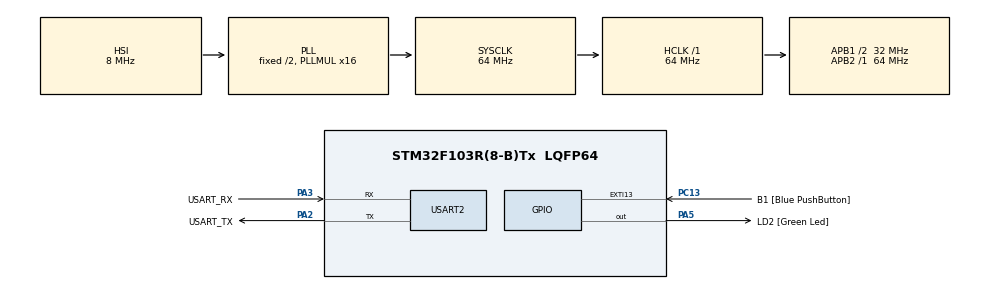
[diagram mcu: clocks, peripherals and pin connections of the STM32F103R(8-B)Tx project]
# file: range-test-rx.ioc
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Mcu.Family=STM32F1
Mcu.Name=STM32F103R(8-B)Tx
Mcu.Package=LQFP64
NVIC.EXTI15_10_IRQn=true\:0\:0\:false\:false\:true\:true\:true\:true
NVIC.PriorityGroup=NVIC_PRIORITYGROUP_4
NVIC.USART2_IRQn=true\:1\:0\:false\:false\:true\:true\:true\:true
PA13.GPIO_Label=TMS
PA13.Mode=Serial_Wire
PA13.Signal=SYS_JTMS-SWDIO
PA14.GPIO_Label=TCK
PA14.Mode=Serial_Wire
PA14.Signal=SYS_JTCK-SWCLK
PA2.GPIO_Label=USART_TX
PA2.GPIO_Mode=GPIO_MODE_AF_PP
PA2.GPIO_PuPd=GPIO_NOPULL
PA2.GPIO_Speed=GPIO_SPEED_FREQ_LOW
PA2.Mode=Asynchronous
PA2.Signal=USART2_TX
PA3.GPIO_Label=USART_RX
PA3.GPIO_Mode=GPIO_MODE_INPUT
PA3.GPIO_PuPd=GPIO_NOPULL
PA3.GPIO_Speed=GPIO_SPEED_FREQ_LOW
PA3.Mode=Asynchronous
PA3.Signal=USART2_RX
PA5.GPIO_Label=LD2 [Green Led]
PA5.GPIO_ModeDefaultOutputPP=GPIO_MODE_OUTPUT_PP
PA5.GPIO_PuPd=GPIO_NOPULL
PA5.GPIO_Speed=GPIO_SPEED_FREQ_LOW
PA5.Signal=GPIO_Output
PB3.GPIO_Label=SWO
PB3.Signal=SYS_JTDO-TRACESWO
PC13-TAMPER-RTC.GPIO_Label=B1 [Blue PushButton]
PC13-TAMPER-RTC.GPIO_PuPd=GPIO_NOPULL
PC13-TAMPER-RTC.Signal=GPXTI13
PC14-OSC32_IN.Mode=LSE-External-Oscillator
PC14-OSC32_IN.Signal=RCC_OSC32_IN
PC15-OSC32_OUT.Mode=LSE-External-Oscillator
PC15-OSC32_OUT.Signal=RCC_OSC32_OUT
PD0-OSC_IN.Mode=HSE-External-Clock-Source
PD0-OSC_IN.Signal=RCC_OSC_IN
PD1-OSC_OUT.Mode=HSE-External-Clock-Source
PD1-OSC_OUT.Signal=RCC_OSC_OUT
ProjectManager.HeapSize=0x200
ProjectManager.StackSize=0x400
ProjectManager.TargetToolchain=EWARM V8.32
RCC.AHBFreq_Value=64000000
RCC.APB1CLKDivider=RCC_HCLK_DIV2
RCC.APB1Freq_Value=32000000
RCC.APB1TimFreq_Value=64000000
RCC.APB2Freq_Value=64000000
RCC.APB2TimFreq_Value=64000000
RCC.HCLKFreq_Value=64000000
RCC.PLLMUL=RCC_PLL_MUL16
RCC.RTCClockSelection=RCC_RTCCLKSOURCE_LSE
RCC.SYSCLKFreq_VALUE=64000000
RCC.SYSCLKSource=RCC_SYSCLKSOURCE_PLLCLK
RCC.USBFreq_Value=64000000
USART2.VirtualMode=VM_ASYNC
board=NUCLEO-F103RB

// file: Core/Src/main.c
/* USER CODE BEGIN Header */
/**
  ******************************************************************************
  * @file           : main.c
  * @brief          : Main program body
  ******************************************************************************
  * @attention
  *
  * Copyright (c) 2026 STMicroelectronics.
  * All rights reserved.
  *
  * This software is licensed under terms that can be found in the LICENSE file
  * in the root directory of this software component.
  * If no LICENSE file comes with this software, it is provided AS-IS.
  *
  ******************************************************************************
  */
/* USER CODE END Header */
#include "main.h"

/* USER CODE BEGIN Includes */
#include <stdbool.h>
#include <string.h>
#include <stdio.h>
/* USER CODE END Includes */

/* USER CODE BEGIN PD */
#define RN2483_BAUDRATE      57600U
#define RN2483_RESP_TIMEOUT  1000U   /* ms, for the immediate command response */
#define RN2483_RX_WDT_MS     4000U   /* lets a late SF12 packet finish */
#define RN2483_RX_RESULT_TIMEOUT_MS (RN2483_RX_WDT_MS + 1000U)
#define RN2483_RX_COMMAND    "radio rx 50" /* ~1.64 s at SF12/BW125 */
#define RN2483_TX_TIMEOUT_MS 10000U
#define RN2483_FLUSH_TIMEOUT_MS 250U
#define RN2483_MAX_SYNC_FAILURES 2U
#define SERIAL_COMMAND_SIZE  16U
#define SERIAL_QUEUE_DEPTH   2U
#define SILENCE_LOG_MS       15000U
#define CONTROL_COMMAND_REPEATS 3U
#define ONE_SHOT_COMMAND_REPEATS 1U
#define PING_REPLY_TIMEOUT_MS 12000U
/* USER CODE END PD */

UART_HandleTypeDef huart2;

/* USER CODE BEGIN PV */
UART_HandleTypeDef huart1; /* RN2483 LoRa module, PA9/PA10 = D8/D2 */
static uint32_t rx_count = 0;
static uint8_t serial_rx_byte;
static volatile char serial_input[SERIAL_COMMAND_SIZE];
static volatile uint8_t serial_input_length;
static volatile bool serial_command_discarding;
static volatile bool serial_command_overflow;
static volatile bool serial_rx_fault;
static volatile char serial_queue[SERIAL_QUEUE_DEPTH][SERIAL_COMMAND_SIZE];
static volatile uint8_t serial_queue_length[SERIAL_QUEUE_DEPTH];
static volatile uint8_t serial_queue_head;
static volatile uint8_t serial_queue_tail;
static volatile uint8_t serial_queue_count;
static bool ping_waiting;
static uint32_t ping_started_ms;
static uint32_t last_silence_log_ms;
/* USER CODE END PV */

void SystemClock_Config(void);
static void MX_GPIO_Init(void);
static void MX_USART2_UART_Init(void);
/* USER CODE BEGIN PFP */
static void Debug_Log(const char *msg);
static void RN2483_UART_Init(void);
static void RN2483_Flush(void);
static HAL_StatusTypeDef RN2483_ReadLine(char *buf, uint16_t size, uint32_t timeout);
static HAL_StatusTypeDef RN2483_Command(const char *cmd, char *resp, uint16_t size, uint32_t timeout);
static bool RN2483_CommandChecked(const char *cmd, const char *expected);
static void RN2483_Initialize(void);
static HAL_StatusTypeDef RN2483_TransmitText(const char *text, char *detail, uint16_t detail_size);
static void Serial_Command_Init(void);
static bool Serial_TakeCommand(char *command, uint16_t command_size);
static int Hex_Nibble(char c);
static bool Text_IsUnsignedNonzero(const char *text);
static bool Text_IsSignedDecimal(const char *text);
/* USER CODE END PFP */

/* USER CODE BEGIN 0 */
/**
  * @brief Print a line on the debug console (ST-LINK VCP, CR/LF appended).
  */
static void Debug_Log(const char *msg)
{
  HAL_UART_Transmit(&huart2, (uint8_t *)msg, (uint16_t)strlen(msg), 100);
  HAL_UART_Transmit(&huart2, (uint8_t *)"\r\n", 2, 100);
}

/**
  * @brief USART1 init (PA9 = TX = D8, PA10 = RX = D2, wired to the RN2483).
  *        Wiring: module RX -> D8 (PA9), module TX -> D2 (PA10).
  */
static void RN2483_UART_Init(void)
{
  GPIO_InitTypeDef GPIO_InitStruct = {0};

  __HAL_RCC_GPIOA_CLK_ENABLE();
  __HAL_RCC_USART1_CLK_ENABLE();

  GPIO_InitStruct.Pin = GPIO_PIN_9;
  GPIO_InitStruct.Mode = GPIO_MODE_AF_PP;
  GPIO_InitStruct.Speed = GPIO_SPEED_FREQ_HIGH;
  HAL_GPIO_Init(GPIOA, &GPIO_InitStruct);

  GPIO_InitStruct.Pin = GPIO_PIN_10;
  GPIO_InitStruct.Mode = GPIO_MODE_AF_INPUT;
  GPIO_InitStruct.Pull = GPIO_NOPULL;
  HAL_GPIO_Init(GPIOA, &GPIO_InitStruct);

  huart1.Instance = USART1;
  huart1.Init.BaudRate = RN2483_BAUDRATE;
  huart1.Init.WordLength = UART_WORDLENGTH_8B;
  huart1.Init.StopBits = UART_STOPBITS_1;
  huart1.Init.Parity = UART_PARITY_NONE;
  huart1.Init.Mode = UART_MODE_TX_RX;
  huart1.Init.HwFlowCtl = UART_HWCONTROL_NONE;
  huart1.Init.OverSampling = UART_OVERSAMPLING_16;
  if (HAL_UART_Init(&huart1) != HAL_OK)
  {
    Error_Handler();
  }
}

/**
  * @brief Discard any pending bytes from the module (e.g. the power-up banner).
  */
static void RN2483_Flush(void)
{
  uint8_t c;
  const uint32_t started_ms = HAL_GetTick();
  while ((HAL_GetTick() - started_ms) < RN2483_FLUSH_TIMEOUT_MS &&
         HAL_UART_Receive(&huart1, &c, 1, 10U) == HAL_OK)
  {
  }
}

/**
  * @brief Read one CR/LF-terminated line from the module into buf.
  *        The terminator is stripped and buf is always NUL-terminated.
  */
static HAL_StatusTypeDef RN2483_ReadLine(char *buf,
                                         uint16_t size,
                                         uint32_t timeout)
{
  if (buf == NULL || size < 2U)
  {
    return HAL_ERROR;
  }

  uint32_t start = HAL_GetTick();
  uint16_t len = 0;

  while ((HAL_GetTick() - start) < timeout)
  {
    uint8_t c;
    if (HAL_UART_Receive(&huart1, &c, 1, 10) != HAL_OK)
    {
      continue;
    }
    if (c == '\r')
    {
      continue;
    }
    if (c == '\n')
    {
      if (len == 0)
      {
        continue; /* ignore stray blank lines */
      }
      buf[len] = '\0';
      return HAL_OK;
    }
    if (len < (size - 1U))
    {
      buf[len++] = (char)c;
    }
  }
  buf[len] = '\0';
  return HAL_TIMEOUT;
}

/**
  * @brief Send a command (CR/LF appended) and read the immediate response line.
  */
static HAL_StatusTypeDef RN2483_Command(const char *cmd, char *resp, uint16_t size, uint32_t timeout)
{
  char wire_command[96];
  if (cmd == NULL || resp == NULL || size < 2U)
  {
    return HAL_ERROR;
  }
  resp[0] = '\0';

  const size_t command_length = strlen(cmd);
  if (command_length == 0U || command_length + 2U > sizeof(wire_command))
  {
    return HAL_ERROR;
  }
  memcpy(wire_command, cmd, command_length);
  wire_command[command_length] = '\r';
  wire_command[command_length + 1U] = '\n';

  if (HAL_UART_Transmit(&huart1,
                        (uint8_t *)wire_command,
                        (uint16_t)(command_length + 2U),
                        100U) != HAL_OK)
  {
    return HAL_ERROR;
  }
  return RN2483_ReadLine(resp, size, timeout);
}

/**
  * @brief Send one initialization command and validate its exact response.
  */
static bool RN2483_CommandChecked(const char *cmd, const char *expected)
{
  char resp[32];
  if (RN2483_Command(cmd, resp, sizeof(resp), RN2483_RESP_TIMEOUT) == HAL_OK &&
      strcmp(resp, expected) == 0)
  {
    return true;
  }

  char out[128];
  snprintf(out, sizeof(out),
           "BRIDGE RADIO CONFIG FAILED cmd=\"%.48s\" response=\"%.31s\"",
           cmd,
           resp[0] == '\0' ? "timeout/write_error" : resp);
  Debug_Log(out);
  return false;
}

static bool Text_IsUnsignedNonzero(const char *text)
{
  if (text == NULL || text[0] == '\0')
  {
    return false;
  }

  bool nonzero = false;
  for (size_t index = 0U; text[index] != '\0'; index++)
  {
    if (text[index] < '0' || text[index] > '9')
    {
      return false;
    }
    nonzero = nonzero || text[index] != '0';
  }
  return nonzero;
}

static bool Text_IsSignedDecimal(const char *text)
{
  if (text == NULL || text[0] == '\0')
  {
    return false;
  }

  size_t index = text[0] == '-' ? 1U : 0U;
  if (text[index] == '\0')
  {
    return false;
  }
  for (; text[index] != '\0'; index++)
  {
    if (text[index] < '0' || text[index] > '9')
    {
      return false;
    }
  }
  return true;
}

/**
  * @brief Reset and configure the separately-powered RN2483.
  *        This routine retries instead of leaving the bridge permanently in
  *        Error_Handler after a transient or stale module response.
  */
static void RN2483_Initialize(void)
{
  static const struct
  {
    const char *command;
    const char *expected;
  } fixed_commands[] = {
    {"radio set mod lora", "ok"},
    {"radio set freq 433575000", "ok"},
    {"radio set sf sf12", "ok"},
    {"radio set bw 125", "ok"},
    {"radio set cr 4/5", "ok"},
    {"radio set crc on", "ok"},
    {"radio set iqi off", "ok"},
    {"radio set prlen 8", "ok"},
    {"radio set sync 34", "ok"},
    {"radio set pwr 14", "ok"},
    {"radio get mod", "lora"},
    {"radio get freq", "433575000"},
    {"radio get sf", "sf12"},
    {"radio get bw", "125"},
    {"radio get cr", "4/5"},
    {"radio get crc", "on"},
    {"radio get iqi", "off"},
    {"radio get prlen", "8"},
    {"radio get sync", "34"},
    {"radio get pwr", "14"},
  };
  char response[64];
  char watchdog_command[32];
  char watchdog_expected[16];
  char out[128];
  uint32_t attempt = 0U;

  snprintf(watchdog_command,
           sizeof(watchdog_command),
           "radio set wdt %lu",
           (unsigned long)RN2483_RX_WDT_MS);
  snprintf(watchdog_expected,
           sizeof(watchdog_expected),
           "%lu",
           (unsigned long)RN2483_RX_WDT_MS);

  for (;;)
  {
    attempt++;
    RN2483_Flush();
    const HAL_StatusTypeDef reset_status =
        RN2483_Command("sys reset",
                       response,
                       sizeof(response),
                       RN2483_RX_RESULT_TIMEOUT_MS);
    if (reset_status != HAL_OK || strncmp(response, "RN2483 ", 7U) != 0)
    {
      snprintf(out, sizeof(out),
               "BRIDGE RADIO INIT RETRY %lu reset_response=\"%.63s\"",
               (unsigned long)attempt,
               response[0] == '\0' ? "timeout/write_error" : response);
      Debug_Log(out);
      HAL_Delay(1000U);
      continue;
    }

    snprintf(out, sizeof(out), "module reset: %.75s", response);
    Debug_Log(out);
    if (RN2483_Command("mac pause",
                       response,
                       sizeof(response),
                       RN2483_RESP_TIMEOUT) != HAL_OK ||
        !Text_IsUnsignedNonzero(response))
    {
      snprintf(out, sizeof(out),
               "BRIDGE RADIO INIT RETRY %lu mac_pause=\"%.63s\"",
               (unsigned long)attempt,
               response[0] == '\0' ? "timeout/write_error" : response);
      Debug_Log(out);
      HAL_Delay(1000U);
      continue;
    }

    bool configured = true;
    for (size_t index = 0U;
         index < sizeof(fixed_commands) / sizeof(fixed_commands[0]);
         index++)
    {
      if (!RN2483_CommandChecked(fixed_commands[index].command,
                                 fixed_commands[index].expected))
      {
        configured = false;
        break;
      }
    }
    if (configured &&
        !RN2483_CommandChecked(watchdog_command, "ok"))
    {
      configured = false;
    }
    if (configured &&
        !RN2483_CommandChecked("radio get wdt", watchdog_expected))
    {
      configured = false;
    }

    if (configured)
    {
      Debug_Log("radio configured: 433.575 MHz, SF12/BW125/CR4/5, sync 34");
      return;
    }

    snprintf(out, sizeof(out),
             "BRIDGE RADIO INIT RETRY %lu configuration rejected",
             (unsigned long)attempt);
    Debug_Log(out);
    HAL_Delay(1000U);
  }
}

/**
  * @brief Send an ASCII payload with the RN2483 raw-LoRa radio command.
  *        The immediate "ok" and final "radio_tx_ok" are both required.
  */
static HAL_StatusTypeDef RN2483_TransmitText(const char *text,
                                             char *detail,
                                             uint16_t detail_size)
{
  static const char hex_digits[] = "0123456789ABCDEF";
  char command[80] = "radio tx ";
  if (text == NULL || detail == NULL || detail_size == 0U)
  {
    return HAL_ERROR;
  }

  const size_t prefix_length = strlen(command);
  const size_t text_length = strlen(text);

  detail[0] = '\0';

  if (text_length == 0U ||
      prefix_length + (text_length * 2U) >= sizeof(command))
  {
    snprintf(detail, detail_size, "payload_too_long");
    return HAL_ERROR;
  }

  for (size_t i = 0; i < text_length; i++)
  {
    const uint8_t byte = (uint8_t)text[i];
    command[prefix_length + (i * 2U)] = hex_digits[byte >> 4];
    command[prefix_length + (i * 2U) + 1U] = hex_digits[byte & 0x0FU];
  }
  command[prefix_length + (text_length * 2U)] = '\0';

  const HAL_StatusTypeDef command_status =
      RN2483_Command(command,
                     detail,
                     detail_size,
                     RN2483_RESP_TIMEOUT);
  if (command_status != HAL_OK)
  {
    snprintf(detail,
             detail_size,
             command_status == HAL_TIMEOUT
                 ? "immediate_timeout"
                 : "command_write_error");
    return command_status;
  }
  if (strcmp(detail, "ok") != 0)
  {
    return HAL_ERROR;
  }

  if (RN2483_ReadLine(detail, detail_size,
                      RN2483_TX_TIMEOUT_MS) != HAL_OK)
  {
    snprintf(detail, detail_size, "transmit_timeout");
    return HAL_TIMEOUT;
  }
  return strcmp(detail, "radio_tx_ok") == 0 ? HAL_OK : HAL_ERROR;
}

/**
  * @brief Arm interrupt-driven reception on the ST-Link VCP (USART2).
  */
static void Serial_Command_Init(void)
{
  serial_input_length = 0U;
  serial_command_discarding = false;
  serial_command_overflow = false;
  serial_rx_fault = false;
  serial_queue_head = 0U;
  serial_queue_tail = 0U;
  serial_queue_count = 0U;

  HAL_NVIC_SetPriority(USART2_IRQn, 1U, 0U);
  HAL_NVIC_EnableIRQ(USART2_IRQn);
  if (HAL_UART_Receive_IT(&huart2, &serial_rx_byte, 1U) != HAL_OK)
  {
    Error_Handler();
  }
}

/**
  * @brief Copy one complete serial line out of the interrupt-owned buffer.
  */
static bool Serial_TakeCommand(char *command, uint16_t command_size)
{
  if (command == NULL || command_size == 0U || serial_queue_count == 0U)
  {
    return false;
  }

  __disable_irq();
  const uint8_t slot = serial_queue_tail;
  uint8_t length = serial_queue_length[slot];
  if (length >= command_size)
  {
    length = (uint8_t)(command_size - 1U);
  }
  for (uint8_t index = 0U; index < length; index++)
  {
    command[index] = serial_queue[slot][index];
  }
  command[length] = '\0';
  serial_queue_tail = (uint8_t)((serial_queue_tail + 1U) % SERIAL_QUEUE_DEPTH);
  serial_queue_count--;
  __enable_irq();
  return true;
}

/**
  * @brief Assemble CR/LF-terminated WebSerial commands without blocking the
  *        RN2483 receive wait in the main loop.
  */
void HAL_UART_RxCpltCallback(UART_HandleTypeDef *huart)
{
  if (huart != &huart2)
  {
    return;
  }

  const uint8_t byte = serial_rx_byte;
  if (byte == '\n')
  {
    if (serial_command_discarding)
    {
      serial_command_discarding = false;
      serial_command_overflow = true;
      serial_input_length = 0U;
    }
    else if (serial_input_length > 0U)
    {
      if (serial_queue_count < SERIAL_QUEUE_DEPTH)
      {
        const uint8_t slot = serial_queue_head;
        for (uint8_t index = 0U; index < serial_input_length; index++)
        {
          serial_queue[slot][index] = serial_input[index];
        }
        serial_queue[slot][serial_input_length] = '\0';
        serial_queue_length[slot] = serial_input_length;
        serial_queue_head =
            (uint8_t)((serial_queue_head + 1U) % SERIAL_QUEUE_DEPTH);
        serial_queue_count++;
      }
      else
      {
        serial_command_overflow = true;
      }
      serial_input_length = 0U;
    }
  }
  else if (byte >= 0x20U && byte <= 0x7EU && !serial_command_discarding)
  {
    if (serial_input_length < (SERIAL_COMMAND_SIZE - 1U))
    {
      serial_input[serial_input_length++] = (char)byte;
    }
    else
    {
      serial_command_discarding = true;
      serial_input_length = 0U;
    }
  }

  if (HAL_UART_Receive_IT(&huart2, &serial_rx_byte, 1U) != HAL_OK)
  {
    serial_rx_fault = true;
  }
}

/**
  * @brief Recover VCP reception after an overrun/noise/framing error.
  */
void HAL_UART_ErrorCallback(UART_HandleTypeDef *huart)
{
  if (huart == &huart2)
  {
    serial_rx_fault = true;
  }
}

/**
  * @brief Hex digit -> value, or -1 if not a hex digit.
  */
static int Hex_Nibble(char c)
{
  if (c >= '0' && c <= '9') return c - '0';
  if (c >= 'A' && c <= 'F') return c - 'A' + 10;
  if (c >= 'a' && c <= 'f') return c - 'a' + 10;
  return -1;
}
/* USER CODE END 0 */

int main(void)
{

  /* MCU Configuration--------------------------------------------------------*/

  /* Reset of all peripherals, Initializes the Flash interface and the Systick. */
  HAL_Init();

  /* Configure the system clock */
  SystemClock_Config();

  /* Initialize all configured peripherals */
  MX_GPIO_Init();
  MX_USART2_UART_Init();
  /* USER CODE BEGIN 2 */
  Serial_Command_Init();
  Debug_Log("range-test RX: booting");

  RN2483_UART_Init();
  RN2483_Initialize();
  Debug_Log("bridge serial ready: PUMP_TOGGLE, PUMP_RUN_6_5, LED_ON/OFF, or PING");
  /* USER CODE END 2 */

  /* Infinite loop */
  /* USER CODE BEGIN WHILE */
  while (1)
  {
    char resp[32];
    char line[160];
    char out[160];
    char serial_line[SERIAL_COMMAND_SIZE];
    static uint8_t radio_sync_failures = 0U;

    __disable_irq();
    const bool command_was_dropped = serial_command_overflow;
    serial_command_overflow = false;
    const bool serial_receive_failed = serial_rx_fault;
    serial_rx_fault = false;
    __enable_irq();

    if (command_was_dropped)
    {
      Debug_Log("BRIDGE SERIAL ERROR input dropped");
    }

    if (serial_receive_failed)
    {
      (void)HAL_UART_AbortReceive(&huart2);
      if (HAL_UART_Receive_IT(&huart2, &serial_rx_byte, 1U) == HAL_OK)
      {
        Debug_Log("BRIDGE SERIAL RX recovered");
      }
      else
      {
        __disable_irq();
        serial_rx_fault = true;
        __enable_irq();
        Debug_Log("BRIDGE SERIAL RX recovery failed");
        HAL_Delay(100U);
      }
    }

    if (ping_waiting &&
        (HAL_GetTick() - ping_started_ms) >= PING_REPLY_TIMEOUT_MS)
    {
      const uint32_t elapsed_ms = HAL_GetTick() - ping_started_ms;
      ping_waiting = false;
      snprintf(out, sizeof(out), "BRIDGE PING TIMEOUT elapsed_ms=%lu",
               (unsigned long)elapsed_ms);
      Debug_Log(out);
    }

    /* A complete VCP line is handled between bounded receive windows, when
       the module is known to be idle and can safely switch from RX to TX. */
    if (Serial_TakeCommand(serial_line, sizeof(serial_line)))
    {
      const bool is_pump_toggle = strcmp(serial_line, "PUMP_TOGGLE") == 0;
      const bool is_pump_run = strcmp(serial_line, "PUMP_RUN_6_5") == 0;
      if (is_pump_toggle ||
          is_pump_run ||
          strcmp(serial_line, "LED_ON") == 0 ||
          strcmp(serial_line, "LED_OFF") == 0 ||
          strcmp(serial_line, "PING") == 0)
      {
        char detail[32];
        HAL_StatusTypeDef transmit_status = HAL_OK;
        uint8_t transmissions = 0U;
        const bool is_ping = strcmp(serial_line, "PING") == 0;
        const bool is_one_shot = is_ping || is_pump_toggle || is_pump_run;
        const uint8_t required_transmissions =
            is_one_shot ? ONE_SHOT_COMMAND_REPEATS
                        : CONTROL_COMMAND_REPEATS;

        if (is_ping && ping_waiting)
        {
          Debug_Log("BRIDGE PING BUSY");
          continue;
        }

        snprintf(out, sizeof(out), "BRIDGE SERIAL RX len=%u \"%s\"",
                 (unsigned int)strlen(serial_line), serial_line);
        Debug_Log(out);

        if (is_ping)
        {
          ping_started_ms = HAL_GetTick();
        }

        /* LED commands are idempotent and repeated for link margin. Toggle,
           fixed-duration pump run, and PING commands are sent exactly once. */
        for (uint8_t attempt = 0U;
             attempt < required_transmissions;
             attempt++)
        {
          transmit_status = RN2483_TransmitText(serial_line,
                                                detail,
                                                sizeof(detail));
          if (transmit_status != HAL_OK)
          {
            break;
          }
          transmissions++;
          if (attempt + 1U < required_transmissions)
          {
            HAL_Delay(250U);
          }
        }

        if (transmit_status == HAL_OK &&
            transmissions == required_transmissions)
        {
          radio_sync_failures = 0U;
          snprintf(out, sizeof(out), "BRIDGE RADIO TX %s OK repeats=%u",
                   serial_line, transmissions);
          Debug_Log(out);
          HAL_GPIO_TogglePin(LD2_GPIO_Port, LD2_Pin);
          if (is_ping)
          {
            ping_waiting = true;
          }
        }
        else
        {
          snprintf(out, sizeof(out),
                   "BRIDGE RADIO TX %s FAILED attempt=%u (%s)",
                   serial_line, (unsigned int)(transmissions + 1U), detail);
          Debug_Log(out);
          Debug_Log("BRIDGE RADIO RECOVERY after transmit failure");
          RN2483_Initialize();
          radio_sync_failures = 0U;
        }
      }
      else
      {
        int position = snprintf(out, sizeof(out),
                                "BRIDGE SERIAL ERROR unknown len=%u hex=",
                                (unsigned int)strlen(serial_line));
        for (size_t index = 0U;
             index < strlen(serial_line) && position < (int)sizeof(out) - 3;
             index++)
        {
          position += snprintf(&out[position], sizeof(out) - (size_t)position,
                               "%02X", (uint8_t)serial_line[index]);
        }
        Debug_Log(out);
      }
      continue;
    }

    /* Arm one bounded receive window. At SF12/BW125, 50 symbols is roughly
       1.64 seconds, which bounds command latency without using an unsupported
       attempt to interrupt an active receive operation. */
    const HAL_StatusTypeDef arm_status =
        RN2483_Command(RN2483_RX_COMMAND,
                       resp,
                       sizeof(resp),
                       RN2483_RESP_TIMEOUT);
    HAL_StatusTypeDef receive_status = HAL_ERROR;
    if (arm_status == HAL_OK && strcmp(resp, "ok") == 0)
    {
      receive_status = RN2483_ReadLine(line,
                                       sizeof(line),
                                       RN2483_RX_RESULT_TIMEOUT_MS);
    }
    else if (arm_status == HAL_OK && strcmp(resp, "busy") == 0)
    {
      /* A prior operation is still active. Drain and process its terminal
         response; it can be a real packet (including PONG), not just an error. */
      Debug_Log("BRIDGE RADIO BUSY; draining current operation");
      receive_status = RN2483_ReadLine(line,
                                       sizeof(line),
                                       RN2483_RX_RESULT_TIMEOUT_MS);
    }
    else
    {
      snprintf(out, sizeof(out), "'%s' refused (%s)",
               RN2483_RX_COMMAND,
               arm_status == HAL_OK && resp[0] != '\0'
                   ? resp
                   : "timeout/write_error");
      Debug_Log(out);
      radio_sync_failures++;
    }

    if (receive_status != HAL_OK)
    {
      if (arm_status == HAL_OK &&
          (strcmp(resp, "ok") == 0 || strcmp(resp, "busy") == 0))
      {
        Debug_Log("BRIDGE RADIO result timeout");
        radio_sync_failures++;
      }

      if (radio_sync_failures >= RN2483_MAX_SYNC_FAILURES)
      {
        Debug_Log("BRIDGE RADIO RECOVERY reinitializing module");
        if (ping_waiting)
        {
          ping_waiting = false;
          Debug_Log("BRIDGE PING TIMEOUT radio_recovery");
        }
        RN2483_Initialize();
        radio_sync_failures = 0U;
      }
      else
      {
        HAL_Delay(100U);
      }
      continue;
    }

    radio_sync_failures = 0U;

    if (strncmp(line, "radio_rx", 8U) == 0 && line[8] == ' ')
    {
      /* Format: "radio_rx  <hex payload>" - decode the hex into text. */
      const char *hex = &line[8];
      while (*hex == ' ')
      {
        hex++;
      }

      char text[64];
      uint16_t tlen = 0;
      bool payload_valid = hex[0] != '\0';
      while (payload_valid && hex[0] != '\0')
      {
        if (hex[1] == '\0' || tlen >= sizeof(text) - 1U)
        {
          payload_valid = false;
          break;
        }
        int hi = Hex_Nibble(hex[0]);
        int lo = Hex_Nibble(hex[1]);
        if (hi < 0 || lo < 0)
        {
          payload_valid = false;
          break;
        }
        char c = (char)((hi << 4) | lo);
        text[tlen++] = (c >= 0x20 && c < 0x7F) ? c : '.';
        hex += 2;
      }
      text[tlen] = '\0';
      if (!payload_valid)
      {
        snprintf(out, sizeof(out),
                 "BRIDGE RADIO RX MALFORMED %.128s",
                 line);
        Debug_Log(out);
        continue;
      }
      const uint32_t packet_received_ms = HAL_GetTick();

      /* Signal quality of this packet - the actual range-test measurement.
         SNR = signal vs noise floor (SF12 decodes down to -20 dB);
         RSSI = absolute received power in dBm (needs module firmware >= 1.0.5,
         falls back to "?" on older firmware). */
      char snr[16] = "?";
      char rssi[16] = "?";
      if (RN2483_Command("radio get snr",
                         snr,
                         sizeof(snr),
                         RN2483_RESP_TIMEOUT) != HAL_OK ||
          !Text_IsSignedDecimal(snr))
      {
        strcpy(snr, "?");
      }
      if (RN2483_Command("radio get rssi",
                         rssi,
                         sizeof(rssi),
                         RN2483_RESP_TIMEOUT) != HAL_OK ||
          !Text_IsSignedDecimal(rssi))
      {
        strcpy(rssi, "?");
      }

      rx_count++;
      snprintf(out, sizeof(out), "RX %lu: \"%s\" (snr %s, rssi %s)",
               (unsigned long)rx_count, text, snr, rssi);
      Debug_Log(out);
      if (strcmp(text, "PONG") == 0)
      {
        if (ping_waiting)
        {
          ping_waiting = false;
          snprintf(out, sizeof(out),
                   "BRIDGE PING OK rtt_ms=%lu snr=%s rssi=%s",
                   (unsigned long)(packet_received_ms - ping_started_ms),
                   snr,
                   rssi);
          Debug_Log(out);
        }
        else
        {
          Debug_Log("BRIDGE PING UNEXPECTED PONG");
        }
      }
      HAL_GPIO_TogglePin(LD2_GPIO_Port, LD2_Pin);
    }
    else if (strcmp(line, "radio_err") == 0)
    {
      const uint32_t now = HAL_GetTick();
      if ((now - last_silence_log_ms) >= SILENCE_LOG_MS)
      {
        Debug_Log("(nothing heard recently, still listening)");
        last_silence_log_ms = now;
      }
    }
    else
    {
      snprintf(out, sizeof(out), "unexpected from module: %.135s", line);
      Debug_Log(out);
    }
    /* USER CODE END WHILE */

  }
}

void SystemClock_Config(void)
{
  RCC_OscInitTypeDef RCC_OscInitStruct = {0};
  RCC_ClkInitTypeDef RCC_ClkInitStruct = {0};

  /** Initializes the RCC Oscillators according to the specified parameters
  * in the RCC_OscInitTypeDef structure.
  */
  RCC_OscInitStruct.OscillatorType = RCC_OSCILLATORTYPE_HSI;
  RCC_OscInitStruct.HSIState = RCC_HSI_ON;
  RCC_OscInitStruct.HSICalibrationValue = RCC_HSICALIBRATION_DEFAULT;
  RCC_OscInitStruct.PLL.PLLState = RCC_PLL_ON;
  RCC_OscInitStruct.PLL.PLLSource = RCC_PLLSOURCE_HSI_DIV2;
  RCC_OscInitStruct.PLL.PLLMUL = RCC_PLL_MUL16;
  if (HAL_RCC_OscConfig(&RCC_OscInitStruct) != HAL_OK)
  {
    Error_Handler();
  }

  /** Initializes the CPU, AHB and APB buses clocks
  */
  RCC_ClkInitStruct.ClockType = RCC_CLOCKTYPE_HCLK|RCC_CLOCKTYPE_SYSCLK
                              |RCC_CLOCKTYPE_PCLK1|RCC_CLOCKTYPE_PCLK2;
  RCC_ClkInitStruct.SYSCLKSource = RCC_SYSCLKSOURCE_PLLCLK;
  RCC_ClkInitStruct.AHBCLKDivider = RCC_SYSCLK_DIV1;
  RCC_ClkInitStruct.APB1CLKDivider = RCC_HCLK_DIV2;
  RCC_ClkInitStruct.APB2CLKDivider = RCC_HCLK_DIV1;

  if (HAL_RCC_ClockConfig(&RCC_ClkInitStruct, FLASH_LATENCY_2) != HAL_OK)
  {
    Error_Handler();
  }
}

static void MX_USART2_UART_Init(void)
{

  huart2.Instance = USART2;
  huart2.Init.BaudRate = 115200;
  huart2.Init.WordLength = UART_WORDLENGTH_8B;
  huart2.Init.StopBits = UART_STOPBITS_1;
  huart2.Init.Parity = UART_PARITY_NONE;
  huart2.Init.Mode = UART_MODE_TX_RX;
  huart2.Init.HwFlowCtl = UART_HWCONTROL_NONE;
  huart2.Init.OverSampling = UART_OVERSAMPLING_16;
  if (HAL_UART_Init(&huart2) != HAL_OK)
  {
    Error_Handler();
  }

}

static void MX_GPIO_Init(void)
{
  GPIO_InitTypeDef GPIO_InitStruct = {0};

  /* GPIO Ports Clock Enable */
  __HAL_RCC_GPIOC_CLK_ENABLE();
  __HAL_RCC_GPIOD_CLK_ENABLE();
  __HAL_RCC_GPIOA_CLK_ENABLE();
  __HAL_RCC_GPIOB_CLK_ENABLE();

  /*Configure GPIO pin Output Level */
  HAL_GPIO_WritePin(LD2_GPIO_Port, LD2_Pin, GPIO_PIN_RESET);

  /*Configure GPIO pin : B1_Pin */
  GPIO_InitStruct.Pin = B1_Pin;
  GPIO_InitStruct.Mode = GPIO_MODE_IT_RISING;
  GPIO_InitStruct.Pull = GPIO_NOPULL;
  HAL_GPIO_Init(B1_GPIO_Port, &GPIO_InitStruct);

  /*Configure GPIO pin : LD2_Pin */
  GPIO_InitStruct.Pin = LD2_Pin;
  GPIO_InitStruct.Mode = GPIO_MODE_OUTPUT_PP;
  GPIO_InitStruct.Pull = GPIO_NOPULL;
  GPIO_InitStruct.Speed = GPIO_SPEED_FREQ_LOW;
  HAL_GPIO_Init(LD2_GPIO_Port, &GPIO_InitStruct);

  /* EXTI interrupt init*/
  HAL_NVIC_SetPriority(EXTI15_10_IRQn, 0, 0);
  HAL_NVIC_EnableIRQ(EXTI15_10_IRQn);

}

void Error_Handler(void)
{
  __disable_irq();
  while (1)
  {
  }
}
